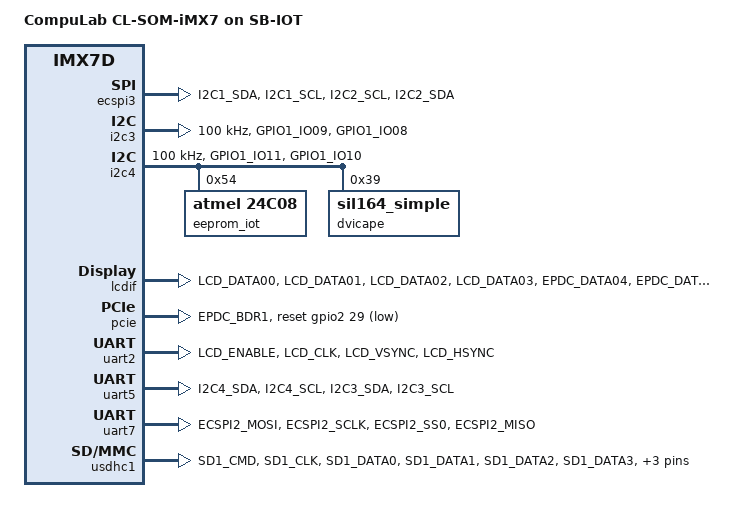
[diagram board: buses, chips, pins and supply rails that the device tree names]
/*
 * Support for CompuLab SBC-IOT-iMX7 Single Board Computer
 *
 * Copyright (C) 2017 CompuLab Ltd. - http://www.compulab.co.il/
 * Author: Ilya Ledvich <ilya@compulab.co.il>
 *
 * This file is dual-licensed: you can use it either under the terms
 * of the GPL or the X11 license, at your option. Note that this dual
 * licensing only applies to this file, and not this project as a
 * whole.
 */

#include "imx7d-cl-som-imx7.dts"

/ {
	model = "CompuLab CL-SOM-iMX7 on SB-IOT";
	compatible = "compulab,sbc-iot-imx7", "compulab,cl-som-imx7", "fsl,imx7d";

	aliases {
		lcdif = &lcdif;
		pcie = &pcie;
	};
};

&ecspi3 {
	fsl,spi-num-chipselects = <1>;
	pinctrl-names = "default";
	pinctrl-0 = <&pinctrl_ecspi3 &pinctrl_ecspi3_cs>;
	cs-gpios = <&gpio4 11 0>;
	status = "okay";
};

&i2c3 {
	clock-frequency = <100000>;
	pinctrl-names = "default";
	pinctrl-0 = <&pinctrl_i2c3>;
	status = "okay";
};

&i2c4 {
	clock-frequency = <100000>;
	pinctrl-names = "default";
	pinctrl-0 = <&pinctrl_i2c4>;
	status = "okay";

	eeprom_iot@54 {
		compatible = "atmel,24c08";
		reg = <0x54>;
		pagesize = <16>;
	};

	dvicape@39 {
		compatible = "sil164_simple";
		reg = <0x39>;
	};
};

&iomuxc {
	pinctrl-1 = <&pinctrl_xpen>;

	/* SB-IOT-iMX7 Xpension Header P7 */
	pinctrl_xpen: xpengrp {
		fsl,pins = <
			MX7D_PAD_LCD_DATA13__GPIO3_IO18		0x34 /* P7-4 - gpio82 */
			MX7D_PAD_LCD_DATA12__GPIO3_IO17		0x34 /* P7-5 - gpio81 */
		>;
	};

	pinctrl_ecspi3: ecspi3grp {
		fsl,pins = <
			MX7D_PAD_I2C1_SDA__ECSPI3_MOSI		0xf /* P7-7 */
			MX7D_PAD_I2C1_SCL__ECSPI3_MISO		0xf /* P7-8 */
			MX7D_PAD_I2C2_SCL__ECSPI3_SCLK		0xf /* P7-6 */
		>;
	};

	pinctrl_ecspi3_cs: ecspi3_cs_grp {
		fsl,pins = <
			MX7D_PAD_I2C2_SDA__GPIO4_IO11		0x34 /* P7-9 */
		>;
	};

	pinctrl_i2c3: i2c3grp {
		fsl,pins = <
			MX7D_PAD_GPIO1_IO09__I2C3_SDA		0x4000000f /* P7-3 */
			MX7D_PAD_GPIO1_IO08__I2C3_SCL		0x4000000f /* P7-2 */
		>;
	};

	pinctrl_i2c4: i2c4grp {
		fsl,pins = <
			MX7D_PAD_GPIO1_IO11__I2C4_SDA		0x4000000f
			MX7D_PAD_GPIO1_IO10__I2C4_SCL		0x4000000f
		>;
	};

	pinctrl_lcdif_dat: lcdifdatgrp {
		fsl,pins = <
			MX7D_PAD_LCD_DATA00__LCD_DATA0		0x79
			MX7D_PAD_LCD_DATA01__LCD_DATA1		0x79
			MX7D_PAD_LCD_DATA02__LCD_DATA2		0x79
			MX7D_PAD_LCD_DATA03__LCD_DATA3		0x79
			MX7D_PAD_EPDC_DATA04__LCD_DATA4		0x79
			MX7D_PAD_EPDC_DATA05__LCD_DATA5		0x79
			MX7D_PAD_EPDC_DATA06__LCD_DATA6		0x79
			MX7D_PAD_EPDC_DATA07__LCD_DATA7		0x79
			MX7D_PAD_EPDC_DATA08__LCD_DATA8		0x79
			MX7D_PAD_EPDC_DATA09__LCD_DATA9		0x79
			MX7D_PAD_EPDC_DATA10__LCD_DATA10	0x79
			MX7D_PAD_EPDC_DATA11__LCD_DATA11	0x79
			MX7D_PAD_EPDC_DATA12__LCD_DATA12	0x79
			MX7D_PAD_EPDC_DATA13__LCD_DATA13	0x79
			MX7D_PAD_EPDC_DATA14__LCD_DATA14	0x79
			MX7D_PAD_EPDC_DATA15__LCD_DATA15	0x79
			MX7D_PAD_LCD_DATA16__LCD_DATA16		0x79
			MX7D_PAD_LCD_DATA17__LCD_DATA17		0x79
			MX7D_PAD_LCD_DATA18__LCD_DATA18		0x79
			MX7D_PAD_LCD_DATA19__LCD_DATA19		0x79
			MX7D_PAD_LCD_DATA20__LCD_DATA20		0x79
			MX7D_PAD_LCD_DATA21__LCD_DATA21		0x79
			MX7D_PAD_LCD_DATA22__LCD_DATA22		0x79
			MX7D_PAD_LCD_DATA23__LCD_DATA23		0x79
		>;
	};

	pinctrl_lcdif_ctrl: lcdifctrlgrp {
		fsl,pins = <
			MX7D_PAD_EPDC_DATA00__LCD_CLK		0x79
			MX7D_PAD_EPDC_DATA01__LCD_ENABLE	0x79
			MX7D_PAD_EPDC_DATA02__LCD_VSYNC		0x79
			MX7D_PAD_EPDC_DATA03__LCD_HSYNC		0x79
		>;
	};

	pinctrl_pcie: pciegrp {
		fsl,pins = <
			MX7D_PAD_EPDC_BDR1__GPIO2_IO29		0x34 /* PCIe RST */
		>;
	};

	pinctrl_uart2: uart2grp {
		fsl,pins = <
			MX7D_PAD_LCD_ENABLE__UART2_DCE_TX	0x79 /* P7-12 */
			MX7D_PAD_LCD_CLK__UART2_DCE_RX		0x79 /* P7-13 */
			MX7D_PAD_LCD_VSYNC__UART2_DCE_CTS	0x79 /* P7-11 */
			MX7D_PAD_LCD_HSYNC__UART2_DCE_RTS	0x79 /* P7-10 */
		>;
	};

	pinctrl_uart5: uart5grp {
		fsl,pins = <
			MX7D_PAD_I2C4_SDA__UART5_DCE_TX		0x79 /* RS232-TX */
			MX7D_PAD_I2C4_SCL__UART5_DCE_RX		0x79 /* RS232-RX */
			MX7D_PAD_I2C3_SDA__UART5_DCE_RTS	0x79 /* RS232-RTS */
			MX7D_PAD_I2C3_SCL__UART5_DCE_CTS	0x79 /* RS232-CTS */
		>;
	};

	pinctrl_uart7: uart7grp {
		fsl,pins = <
			MX7D_PAD_ECSPI2_MOSI__UART7_DCE_TX	0x79 /* R485-TX */
			MX7D_PAD_ECSPI2_SCLK__UART7_DCE_RX	0x79 /* R485-RX */
			MX7D_PAD_ECSPI2_SS0__UART7_DCE_CTS	0x79 /* R485-CTS */
			MX7D_PAD_ECSPI2_MISO__UART7_DCE_RTS	0x79 /* R485-TTS */
		>;
	};

	pinctrl_usdhc1: usdhc1grp {
		fsl,pins = <
			MX7D_PAD_SD1_CMD__SD1_CMD		0x59
			MX7D_PAD_SD1_CLK__SD1_CLK		0x19
			MX7D_PAD_SD1_DATA0__SD1_DATA0		0x59
			MX7D_PAD_SD1_DATA1__SD1_DATA1		0x59
			MX7D_PAD_SD1_DATA2__SD1_DATA2		0x59
			MX7D_PAD_SD1_DATA3__SD1_DATA3		0x59
			MX7D_PAD_SD1_CD_B__GPIO5_IO0		0x59 /* CD */
		>;
	};
};

&lcdif {
	pinctrl-names = "default";
	pinctrl-0 = <&pinctrl_lcdif_dat
		     &pinctrl_lcdif_ctrl>;
	display = <&display0>;
	status = "okay";

	display0: display {
		bits-per-pixel = <24>;
		bus-width = <24>;

		display-timings {
			native-mode = <&timing0>;
			timing0: dvi {
				/* 1024x768p60 */
				clock-frequency = <65000000>;
				hactive = <1024>;
				hfront-porch = <40>;
				hback-porch = <220>;
				hsync-len = <60>;
				vactive = <768>;
				vfront-porch = <7>;
				vback-porch = <21>;
				vsync-len = <10>;

				hsync-active = <0>;
				vsync-active = <0>;
				de-active = <1>;
				pixelclk-active = <0>;
			};
		};
	};
};

&pcie {
	pinctrl-names = "default";
	pinctrl-0 = <&pinctrl_pcie>;
	reset-gpio = <&gpio2 29 GPIO_ACTIVE_LOW>;
	fsl,pcie-phy-refclk-internal;
	status = "okay";
};

&uart2 {
	pinctrl-names = "default";
	pinctrl-0 = <&pinctrl_uart2>;
	assigned-clocks = <&clks IMX7D_UART2_ROOT_SRC>;
	assigned-clock-parents = <&clks IMX7D_OSC_24M_CLK>;
	fsl,uart-has-rtscts;
	status = "okay";
};

&uart5 {
	pinctrl-names = "default";
	pinctrl-0 = <&pinctrl_uart5>;
	assigned-clocks = <&clks IMX7D_UART5_ROOT_SRC>;
	assigned-clock-parents = <&clks IMX7D_PLL_SYS_MAIN_240M_CLK>;
	fsl,uart-has-rtscts;
	status = "okay";
};

&uart7 {
	pinctrl-names = "default";
	pinctrl-0 = <&pinctrl_uart7>;
	assigned-clocks = <&clks IMX7D_UART7_ROOT_SRC>;
	assigned-clock-parents = <&clks IMX7D_PLL_SYS_MAIN_240M_CLK>;
	fsl,uart-has-rtscts;
	status = "okay";
};

&usdhc1 {
	pinctrl-names = "default";
	pinctrl-0 = <&pinctrl_usdhc1>;
	cd-gpios = <&gpio5 0 GPIO_ACTIVE_LOW>;
	wp-gpios = <&gpio5 1 GPIO_ACTIVE_HIGH>;
	wakeup-source;
	status = "okay";
};
